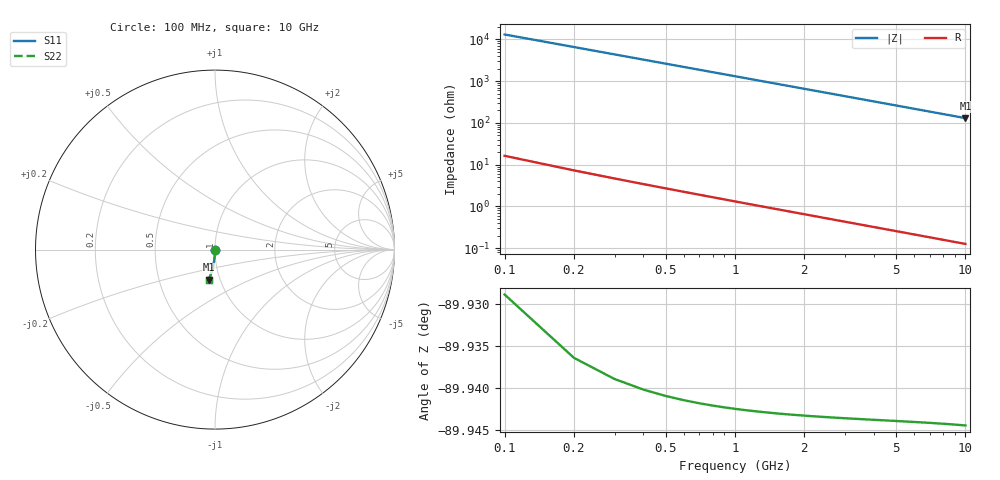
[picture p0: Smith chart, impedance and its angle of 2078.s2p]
# Hz S RI R 50.00
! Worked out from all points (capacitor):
!   100 points, 100 MHz to 10 GHz, reference 50 ohm
!   read as one part in shunt: C = 121 fF near 100 MHz
!   lowest |Z| = 130 ohm at 10 GHz (marker M1)
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1e8  7.09e-05 -0.00173  0.9999 -0.00208  0.9999 -0.00208  7.09e-05 -0.00173
2e8  5.88e-05 -0.00346  0.9999 -0.00415  0.9999 -0.00415  5.88e-05 -0.00346
3e8  3.94e-05 -0.00519  0.9999 -0.00623  0.9999 -0.00623  3.94e-05 -0.00519
4e8  1.27e-05 -0.00691  0.9999 -0.0083  0.9999 -0.0083  1.27e-05 -0.00691
5e8  -2.12e-05 -0.00864  0.9998 -0.0104  0.9998 -0.0104  -2.12e-05 -0.00864
6e8  -6.23e-05 -0.0104  0.9998 -0.0125  0.9998 -0.0125  -6.23e-05 -0.0104
7e8  -0.000111 -0.0121  0.9997 -0.0145  0.9997 -0.0145  -0.000111 -0.0121
8e8  -0.000166 -0.0138  0.9997 -0.0166  0.9997 -0.0166  -0.000166 -0.0138
9e8  -0.000229 -0.0156  0.9996 -0.0187  0.9996 -0.0187  -0.000229 -0.0156
1.1e9  -0.000376 -0.019  0.9995 -0.0228  0.9995 -0.0228  -0.000376 -0.019
1.4e9  -0.00065 -0.0242  0.9992 -0.0291  0.9992 -0.0291  -0.00065 -0.0242
1.8e9  -0.00112 -0.0311  0.9987 -0.0373  0.9987 -0.0373  -0.00112 -0.0311
2.1e9  -0.00154 -0.0363  0.9983 -0.0436  0.9983 -0.0436  -0.00154 -0.0363
2.5e9  -0.00221 -0.0432  0.9976 -0.0519  0.9976 -0.0519  -0.00221 -0.0432
2.9e9  -0.00299 -0.0501  0.9968 -0.0601  0.9968 -0.0601  -0.00299 -0.0501
3.4e9  -0.00413 -0.0587  0.9956 -0.0705  0.9956 -0.0705  -0.00413 -0.0587
4.2e9  -0.00633 -0.0723  0.9934 -0.0869  0.9934 -0.0869  -0.00633 -0.0723
5.1e9  -0.00934 -0.0876  0.9903 -0.1054  0.9903 -0.1054  -0.00934 -0.0876
5.9e9  -0.0125 -0.1011  0.9871 -0.1217  0.9871 -0.1217  -0.0125 -0.1011
6.7e9  -0.0161 -0.1145  0.9835 -0.1379  0.9835 -0.1379  -0.0161 -0.1145
8.4e9  -0.0252 -0.1424  0.9742 -0.1718  0.9742 -0.1718  -0.0252 -0.1424
1e10  -0.0355 -0.1679  0.9637 -0.203  0.9637 -0.203  -0.0355 -0.1679
